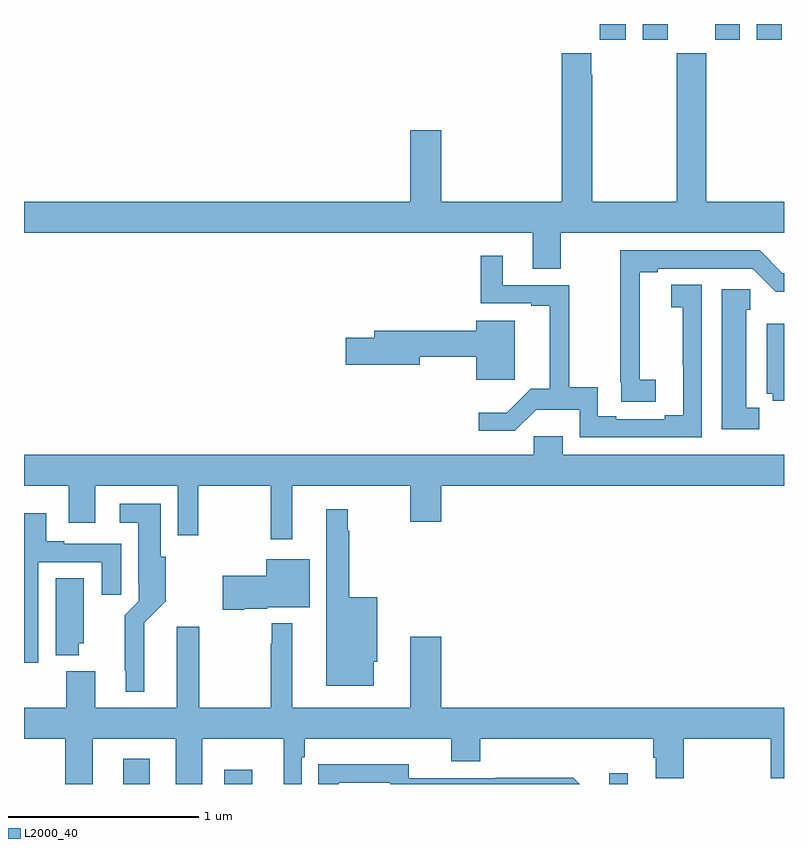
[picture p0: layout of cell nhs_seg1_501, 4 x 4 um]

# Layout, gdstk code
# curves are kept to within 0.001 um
import gdstk
lib = gdstk.Library(unit=1e-6, precision=1e-09)
def R(c, l, rs):  # rectangles x0, y0, x1, y1
    for r in rs: c.add(gdstk.rectangle(r[:2], r[2:], *l))
def P(c, l, *ps):  # polygons
    for p in ps: c.add(gdstk.Polygon(p, *l))
L2000_40 = (2000, 40)

nhs_seg1_501 = lib.new_cell('nhs_seg1_501')
R(nhs_seg1_501, L2000_40, [(139.523,514.199,139.663,514.333), (140.054,514.199,140.2,514.273), (142.08,514.199,142.177,514.255), (142.031,518.115,142.168,518.199), (142.256,518.115,142.387,518.199), (142.637,518.115,142.768,518.199), (142.856,518.115,142.987,518.199)])
P(nhs_seg1_501, L2000_40, [(141.825,517.1),(143,517.1),(143,517.264),(142.59,517.264),(142.59,518.044),(142.435,518.044),(142.435,517.264),(141.99,517.264),(141.99,517.931),(141.985,517.931),(141.985,518.044),(141.83,518.044),(141.83,517.264),(141.196,517.264),(141.196,517.639),(141.032,517.639),(141.032,517.264),(139,517.264),(139,517.1),(141.677,517.1),(141.677,516.91),(141.825,516.91)],
  [(142.324,516.326),(142.242,516.326),(142.24,516.892),(142.336,516.892),(142.336,516.912),(142.836,516.912),(142.957,516.791),(143,516.791),(143,516.888),(142.992,516.888),(142.872,517.008),(142.138,517.008),(142.138,516.313),(142.144,516.313),(142.144,516.211),(142.324,516.211)],
  [(142.566,516.827),(142.407,516.827),(142.407,516.707),(142.468,516.707),(142.469,516.14),(142.373,516.14),(142.373,516.12),(142.117,516.12),(142.117,516.134),(142.02,516.134),(142.02,516.287),(141.869,516.287),(141.869,516.825),(141.52,516.825),(141.52,516.979),(141.403,516.979),(141.403,516.729),(141.671,516.729),(141.671,516.717),(141.767,516.717),(141.767,516.28),(141.667,516.28),(141.541,516.154),(141.393,516.154),(141.393,516.057),(141.582,516.057),(141.695,516.17),(141.924,516.17),(141.924,516.024),(142.566,516.024)],
  [(142.87,516.18),(142.801,516.18),(142.801,516.696),(142.823,516.696),(142.823,516.802),(142.673,516.802),(142.673,516.065),(142.87,516.065)],
  [(141.583,516.637),(141.38,516.637),(141.38,516.584),(140.843,516.584),(140.843,516.548),(140.694,516.548),(140.694,516.406),(141.082,516.406),(141.082,516.448),(141.38,516.448),(141.38,516.327),(141.583,516.327)],
  [(143,516.621),(142.91,516.621),(142.91,516.254),(142.942,516.254),(142.942,516.217),(143,516.217)],
  [(140.413,515.768),(141.032,515.768),(141.032,515.58),(141.196,515.58),(141.196,515.768),(143,515.768),(143,515.932),(141.835,515.932),(141.835,516.03),(141.684,516.03),(141.684,515.932),(139,515.932),(139,515.768),(139.235,515.768),(139.235,515.574),(139.375,515.574),(139.375,515.768),(139.809,515.768),(139.809,515.508),(139.918,515.508),(139.918,515.768),(140.299,515.768),(140.299,515.487),(140.413,515.487)],
  [(139.633,515.048),(139.746,515.161),(139.746,515.394),(139.72,515.394),(139.72,515.674),(139.503,515.674),(139.503,515.573),(139.601,515.573),(139.601,515.254),(139.605,515.254),(139.605,515.16),(139.531,515.086),(139.531,514.795),(139.535,514.795),(139.535,514.685),(139.633,514.685)],
  [(140.842,514.842),(140.86,514.842),(140.86,515.182),(140.713,515.182),(140.713,515.531),(140.705,515.531),(140.705,515.644),(140.591,515.644),(140.591,514.715),(140.842,514.715)],
  [(139.075,515.367),(139.409,515.367),(139.409,515.196),(139.513,515.196),(139.513,515.463),(139.213,515.463),(139.213,515.476),(139.117,515.476),(139.117,515.623),(139,515.623),(139,514.836),(139.075,514.836)],
  [(140.158,515.122),(140.28,515.122),(140.28,515.129),(140.503,515.129),(140.503,515.383),(140.276,515.383),(140.276,515.295),(140.046,515.295),(140.046,515.117),(140.158,515.117)],
  [(139.288,514.941),(139.315,514.941),(139.315,515.282),(139.166,515.282),(139.166,514.877),(139.288,514.877)],
  [(139.363,514.436),(139.799,514.436),(139.799,514.199),(139.939,514.199),(139.939,514.436),(140.366,514.436),(140.366,514.199),(140.463,514.199),(140.463,514.34),(140.477,514.34),(140.477,514.436),(141.248,514.436),(141.248,514.319),(141.401,514.319),(141.401,514.436),(142.313,514.436),(142.313,514.338),(142.325,514.338),(142.325,514.228),(142.473,514.228),(142.473,514.436),(142.93,514.436),(142.93,514.228),(143,514.228),(143,514.6),(141.196,514.6),(141.196,514.975),(141.032,514.975),(141.032,514.6),(140.413,514.6),(140.413,515.044),(140.303,515.044),(140.303,514.937),(140.299,514.937),(140.299,514.6),(139.923,514.6),(139.923,515.026),(139.805,515.026),(139.805,514.6),(139.375,514.6),(139.375,514.792),(139.223,514.792),(139.223,514.6),(139,514.6),(139,514.436),(139.216,514.436),(139.216,514.199),(139.363,514.199)],
  [(140.656,514.206),(140.928,514.206),(140.928,514.199),(141.925,514.199),(141.892,514.232),(141.484,514.232),(141.484,514.23),(141.024,514.23),(141.024,514.303),(140.548,514.302),(140.548,514.199),(140.656,514.199)])

lib.write_gds('nhs_seg1_501.gds')
